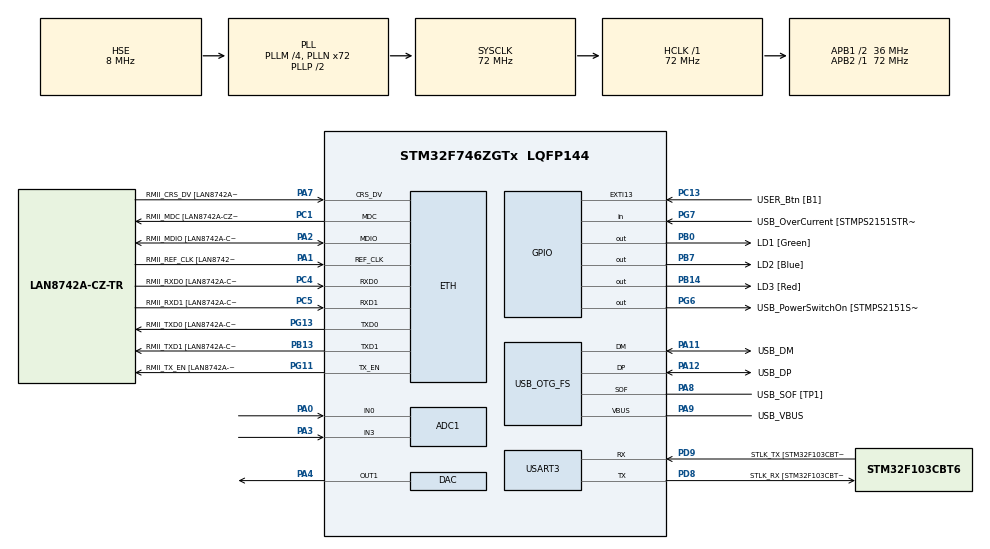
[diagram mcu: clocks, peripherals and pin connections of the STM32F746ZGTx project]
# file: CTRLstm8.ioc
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ADC1.Channel-0\#ChannelRegularConversion=ADC_CHANNEL_0
ADC1.Channel-1\#ChannelRegularConversion=ADC_CHANNEL_3
ADC1.ClockPrescaler=ADC_CLOCK_SYNC_PCLK_DIV4
ADC1.ContinuousConvMode=ENABLE
ADC1.DMAContinuousRequests=ENABLE
ADC1.EnableAnalogWatchDog=false
ADC1.NbrOfConversion=2
ADC1.NbrOfConversionFlag=1
ADC1.Rank-0\#ChannelRegularConversion=1
ADC1.Rank-1\#ChannelRegularConversion=2
ADC1.SamplingTime-0\#ChannelRegularConversion=ADC_SAMPLETIME_480CYCLES
ADC1.SamplingTime-1\#ChannelRegularConversion=ADC_SAMPLETIME_480CYCLES
ADC1.ScanConvMode=ADC_SCAN_ENABLE
ADC1.master=1
Dma.ADC1.0.Direction=DMA_PERIPH_TO_MEMORY
Dma.ADC1.0.FIFOMode=DMA_FIFOMODE_DISABLE
Dma.ADC1.0.Instance=DMA2_Stream0
Dma.ADC1.0.MemDataAlignment=DMA_MDATAALIGN_WORD
Dma.ADC1.0.MemInc=DMA_MINC_ENABLE
Dma.ADC1.0.Mode=DMA_CIRCULAR
Dma.ADC1.0.PeriphDataAlignment=DMA_PDATAALIGN_WORD
Dma.ADC1.0.PeriphInc=DMA_PINC_DISABLE
Dma.ADC1.0.Priority=DMA_PRIORITY_LOW
Dma.Request0=ADC1
ETH.MediaInterface=ETH_MEDIA_INTERFACE_RMII
ETH.PHY_Name=LAN8742A_PHY_ADDRESS
ETH.PHY_Value=0
ETH.PhyAddress=0
Mcu.Family=STM32F7
Mcu.Name=STM32F746ZGTx
Mcu.Package=LQFP144
NVIC.DMA2_Stream0_IRQn=true\:0\:0\:false\:false\:true\:false\:true
NVIC.PriorityGroup=NVIC_PRIORITYGROUP_4
NVIC.TIM2_IRQn=true\:0\:0\:false\:false\:true\:true\:true
PA0/WKUP.Signal=ADCx_IN0
PA1.GPIO_Label=RMII_REF_CLK [LAN8742A-CZ-TR_REFCLK0]
PA1.Mode=RMII
PA1.Signal=ETH_REF_CLK
PA10.GPIO_Label=USB_ID
PA10.Signal=USB_OTG_FS_ID
PA11.GPIO_Label=USB_DM
PA11.Mode=Device_Only
PA11.Signal=USB_OTG_FS_DM
PA12.GPIO_Label=USB_DP
PA12.Mode=Device_Only
PA12.Signal=USB_OTG_FS_DP
PA13.GPIO_Label=TMS
PA13.Mode=Trace_Asynchronous_SW
PA13.Signal=SYS_JTMS-SWDIO
PA14.GPIO_Label=TCK
PA14.Mode=Trace_Asynchronous_SW
PA14.Signal=SYS_JTCK-SWCLK
PA2.GPIO_Label=RMII_MDIO [LAN8742A-CZ-TR_MDIO]
PA2.Mode=RMII
PA2.Signal=ETH_MDIO
PA3.Signal=ADCx_IN3
PA4.Signal=COMP_DAC1_group
PA7.GPIO_Label=RMII_CRS_DV [LAN8742A-CZ-TR_CRS_DV]
PA7.Mode=RMII
PA7.Signal=ETH_CRS_DV
PA8.GPIO_Label=USB_SOF [TP1]
PA8.Mode=Activate_SOF_FS
PA8.Signal=USB_OTG_FS_SOF
PA9.GPIO_Label=USB_VBUS
PA9.Mode=Activate_VBUS
PA9.Signal=USB_OTG_FS_VBUS
PB0.GPIO_Label=LD1 [Green]
PB0.Signal=GPIO_Output
PB13.GPIO_Label=RMII_TXD1 [LAN8742A-CZ-TR_TXD1]
PB13.Mode=RMII
PB13.Signal=ETH_TXD1
PB14.GPIO_Label=LD3 [Red]
PB14.Signal=GPIO_Output
PB3.GPIO_Label=SW0
PB3.Mode=Trace_Asynchronous_SW
PB3.Signal=SYS_JTDO-SWO
PB7.GPIO_Label=LD2 [Blue]
PB7.Signal=GPIO_Output
PC1.GPIO_Label=RMII_MDC [LAN8742A-CZ-TR_MDC]
PC1.Mode=RMII
PC1.Signal=ETH_MDC
PC13.GPIO_Label=USER_Btn [B1]
PC13.Signal=GPXTI13
PC14/OSC32_IN.Mode=LSE-External-Oscillator
PC14/OSC32_IN.Signal=RCC_OSC32_IN
PC15/OSC32_OUT.Mode=LSE-External-Oscillator
PC15/OSC32_OUT.Signal=RCC_OSC32_OUT
PC4.GPIO_Label=RMII_RXD0 [LAN8742A-CZ-TR_RXD0]
PC4.Mode=RMII
PC4.Signal=ETH_RXD0
PC5.GPIO_Label=RMII_RXD1 [LAN8742A-CZ-TR_RXD1]
PC5.Mode=RMII
PC5.Signal=ETH_RXD1
PD8.GPIO_Label=STLK_RX [STM32F103CBT6_PA3]
PD8.Mode=Asynchronous
PD8.Signal=USART3_TX
PD9.GPIO_Label=STLK_TX [STM32F103CBT6_PA2]
PD9.Mode=Asynchronous
PD9.Signal=USART3_RX
PG11.GPIO_Label=RMII_TX_EN [LAN8742A-CZ-TR_TXEN]
PG11.Mode=RMII
PG11.Signal=ETH_TX_EN
PG13.GPIO_Label=RMII_TXD0 [LAN8742A-CZ-TR_TXD0]
PG13.Mode=RMII
PG13.Signal=ETH_TXD0
PG6.GPIO_Label=USB_PowerSwitchOn [STMPS2151STR_EN]
PG6.Signal=GPIO_Output
PG7.GPIO_Label=USB_OverCurrent [STMPS2151STR_FAULT]
PG7.Signal=GPIO_Input
PH0/OSC_IN.GPIO_Label=MCO [STM32F103CBT6_PA8]
PH0/OSC_IN.Mode=HSE-External-Clock-Source
PH0/OSC_IN.Signal=RCC_OSC_IN
PH1/OSC_OUT.Mode=HSE-External-Clock-Source
PH1/OSC_OUT.Signal=RCC_OSC_OUT
ProjectManager.HeapSize=0x200
ProjectManager.StackSize=0x400
ProjectManager.TargetToolchain=STM32CubeIDE
RCC.48MHZClocksFreq_Value=24000000
RCC.AHBFreq_Value=72000000
RCC.APB1CLKDivider=RCC_HCLK_DIV2
RCC.APB1Freq_Value=36000000
RCC.APB1TimFreq_Value=72000000
RCC.APB2Freq_Value=72000000
RCC.APB2TimFreq_Value=72000000
RCC.CortexFreq_Value=72000000
RCC.HCLKFreq_Value=72000000
RCC.HSE_VALUE=8000000
RCC.HSI_VALUE=16000000
RCC.PLLM=4
RCC.PLLMUL=RCC_PLL_MUL9
RCC.PLLN=72
RCC.PLLQ=3
RCC.PRESCALERUSB=RCC_USBCLKSOURCE_PLL_DIV1_5
RCC.SYSCLKFreq_VALUE=72000000
RCC.SYSCLKSource=RCC_SYSCLKSOURCE_PLLCLK
RCC.SYSCLKSourceVirtual=RCC_SYSCLKSOURCE_PLLCLK
RCC.USBFreq_Value=48000000
RCC.VCOOutputFreq_Value=144000000
SH.ADCx_IN0.0=ADC1_IN0,IN0
SH.ADCx_IN3.0=ADC1_IN3,IN3
SH.COMP_DAC1_group.0=DAC_OUT1,DAC_OUT1
TIM2.Period=5000
TIM2.Prescaler=72-1
USART3.VirtualMode-Asynchronous=VM_ASYNC
USB_OTG_FS.VirtualMode=Device_Only
VP_TIM2_VS_ClockSourceINT.Mode=Internal
board=NUCLEO-F746ZG

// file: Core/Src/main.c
/* USER CODE BEGIN Header */
/**
  ******************************************************************************
  * @file           : main.c
  * @brief          : Main program body
  ******************************************************************************
  * @attention
  *
  * <h2><center>&copy; Copyright (c) 2022 STMicroelectronics.
  * All rights reserved.</center></h2>
  *
  * This software component is licensed by ST under BSD 3-Clause license,
  * the "License"; You may not use this file except in compliance with the
  * License. You may obtain a copy of the License at:
  *                        opensource.org/licenses/BSD-3-Clause
  *
  ******************************************************************************
  */
/* USER CODE END Header */
#include "main.h"

/* USER CODE BEGIN Includes */
#include "stdio.h"
/* USER CODE END Includes */

ADC_HandleTypeDef hadc1;
DMA_HandleTypeDef hdma_adc1;

DAC_HandleTypeDef hdac;

ETH_HandleTypeDef heth;

TIM_HandleTypeDef htim2;

UART_HandleTypeDef huart3;

PCD_HandleTypeDef hpcd_USB_OTG_FS;

/* USER CODE BEGIN PV */

//ADC
uint32_t adc_value[2];

float referencia,planta;

//DAC
uint32_t dac_value;

/* USER CODE END PV */

void SystemClock_Config(void);
static void MX_GPIO_Init(void);
static void MX_DMA_Init(void);
static void MX_ETH_Init(void);
static void MX_USART3_UART_Init(void);
static void MX_USB_OTG_FS_PCD_Init(void);
static void MX_ADC1_Init(void);
static void MX_DAC_Init(void);
static void MX_TIM2_Init(void);

int main(void)
{

  /* MCU Configuration--------------------------------------------------------*/

  /* Reset of all peripherals, Initializes the Flash interface and the Systick. */
   HAL_Init();

  /* Configure the system clock */
  SystemClock_Config();

  /* Initialize all configured peripherals */
  MX_GPIO_Init();
  MX_DMA_Init();
  MX_ETH_Init();
  MX_USART3_UART_Init();
  MX_USB_OTG_FS_PCD_Init();
  MX_ADC1_Init();
  MX_DAC_Init();
  MX_TIM2_Init();
  /* USER CODE BEGIN 2 */

  //ADC
  //12 bits de resolucion
  HAL_ADC_Start_DMA(&hadc1, adc_value, 2);
  //DAC
  HAL_DAC_Start(&hdac, DAC_CHANNEL_1);
  //TIMER
  HAL_TIM_Base_Start_IT(&htim2);

  /* USER CODE END 2 */

  /* Infinite loop */
  while (1)
  {

  }
}

void SystemClock_Config(void)
{
  RCC_OscInitTypeDef RCC_OscInitStruct = {0};
  RCC_ClkInitTypeDef RCC_ClkInitStruct = {0};
  RCC_PeriphCLKInitTypeDef PeriphClkInitStruct = {0};

  /** Configure LSE Drive Capability
  */
  HAL_PWR_EnableBkUpAccess();
  /** Configure the main internal regulator output voltage
  */
  __HAL_RCC_PWR_CLK_ENABLE();
  __HAL_PWR_VOLTAGESCALING_CONFIG(PWR_REGULATOR_VOLTAGE_SCALE3);
  /** Initializes the RCC Oscillators according to the specified parameters
  * in the RCC_OscInitTypeDef structure.
  */
  RCC_OscInitStruct.OscillatorType = RCC_OSCILLATORTYPE_HSE;
  RCC_OscInitStruct.HSEState = RCC_HSE_BYPASS;
  RCC_OscInitStruct.PLL.PLLState = RCC_PLL_ON;
  RCC_OscInitStruct.PLL.PLLSource = RCC_PLLSOURCE_HSE;
  RCC_OscInitStruct.PLL.PLLM = 4;
  RCC_OscInitStruct.PLL.PLLN = 72;
  RCC_OscInitStruct.PLL.PLLP = RCC_PLLP_DIV2;
  RCC_OscInitStruct.PLL.PLLQ = 3;
  if (HAL_RCC_OscConfig(&RCC_OscInitStruct) != HAL_OK)
  {
    Error_Handler();
  }
  /** Initializes the CPU, AHB and APB buses clocks
  */
  RCC_ClkInitStruct.ClockType = RCC_CLOCKTYPE_HCLK|RCC_CLOCKTYPE_SYSCLK
                              |RCC_CLOCKTYPE_PCLK1|RCC_CLOCKTYPE_PCLK2;
  RCC_ClkInitStruct.SYSCLKSource = RCC_SYSCLKSOURCE_PLLCLK;
  RCC_ClkInitStruct.AHBCLKDivider = RCC_SYSCLK_DIV1;
  RCC_ClkInitStruct.APB1CLKDivider = RCC_HCLK_DIV2;
  RCC_ClkInitStruct.APB2CLKDivider = RCC_HCLK_DIV1;

  if (HAL_RCC_ClockConfig(&RCC_ClkInitStruct, FLASH_LATENCY_2) != HAL_OK)
  {
    Error_Handler();
  }
  PeriphClkInitStruct.PeriphClockSelection = RCC_PERIPHCLK_USART3|RCC_PERIPHCLK_CLK48;
  PeriphClkInitStruct.Usart3ClockSelection = RCC_USART3CLKSOURCE_PCLK1;
  PeriphClkInitStruct.Clk48ClockSelection = RCC_CLK48SOURCE_PLL;
  if (HAL_RCCEx_PeriphCLKConfig(&PeriphClkInitStruct) != HAL_OK)
  {
    Error_Handler();
  }
}

static void MX_ADC1_Init(void)
{

  ADC_ChannelConfTypeDef sConfig = {0};

  /** Configure the global features of the ADC (Clock, Resolution, Data Alignment and number of conversion)
  */
  hadc1.Instance = ADC1;
  hadc1.Init.ClockPrescaler = ADC_CLOCK_SYNC_PCLK_DIV4;
  hadc1.Init.Resolution = ADC_RESOLUTION_12B;
  hadc1.Init.ScanConvMode = ADC_SCAN_ENABLE;
  hadc1.Init.ContinuousConvMode = ENABLE;
  hadc1.Init.DiscontinuousConvMode = DISABLE;
  hadc1.Init.ExternalTrigConvEdge = ADC_EXTERNALTRIGCONVEDGE_NONE;
  hadc1.Init.ExternalTrigConv = ADC_SOFTWARE_START;
  hadc1.Init.DataAlign = ADC_DATAALIGN_RIGHT;
  hadc1.Init.NbrOfConversion = 2;
  hadc1.Init.DMAContinuousRequests = ENABLE;
  hadc1.Init.EOCSelection = ADC_EOC_SINGLE_CONV;
  if (HAL_ADC_Init(&hadc1) != HAL_OK)
  {
    Error_Handler();
  }
  /** Configure for the selected ADC regular channel its corresponding rank in the sequencer and its sample time.
  */
  sConfig.Channel = ADC_CHANNEL_0;
  sConfig.Rank = ADC_REGULAR_RANK_1;
  sConfig.SamplingTime = ADC_SAMPLETIME_480CYCLES;
  if (HAL_ADC_ConfigChannel(&hadc1, &sConfig) != HAL_OK)
  {
    Error_Handler();
  }
  /** Configure for the selected ADC regular channel its corresponding rank in the sequencer and its sample time.
  */
  sConfig.Channel = ADC_CHANNEL_3;
  sConfig.Rank = ADC_REGULAR_RANK_2;
  if (HAL_ADC_ConfigChannel(&hadc1, &sConfig) != HAL_OK)
  {
    Error_Handler();
  }

}

static void MX_DAC_Init(void)
{

  DAC_ChannelConfTypeDef sConfig = {0};

  /** DAC Initialization
  */
  hdac.Instance = DAC;
  if (HAL_DAC_Init(&hdac) != HAL_OK)
  {
    Error_Handler();
  }
  /** DAC channel OUT1 config
  */
  sConfig.DAC_Trigger = DAC_TRIGGER_NONE;
  sConfig.DAC_OutputBuffer = DAC_OUTPUTBUFFER_ENABLE;
  if (HAL_DAC_ConfigChannel(&hdac, &sConfig, DAC_CHANNEL_1) != HAL_OK)
  {
    Error_Handler();
  }

}

static void MX_ETH_Init(void)
{

  heth.Instance = ETH;
  heth.Init.AutoNegotiation = ETH_AUTONEGOTIATION_ENABLE;
  heth.Init.PhyAddress = LAN8742A_PHY_ADDRESS;
  heth.Init.MACAddr[0] =   0x00;
  heth.Init.MACAddr[1] =   0x80;
  heth.Init.MACAddr[2] =   0xE1;
  heth.Init.MACAddr[3] =   0x00;
  heth.Init.MACAddr[4] =   0x00;
  heth.Init.MACAddr[5] =   0x00;
  heth.Init.RxMode = ETH_RXPOLLING_MODE;
  heth.Init.ChecksumMode = ETH_CHECKSUM_BY_HARDWARE;
  heth.Init.MediaInterface = ETH_MEDIA_INTERFACE_RMII;

  if (HAL_ETH_Init(&heth) != HAL_OK)
  {
    Error_Handler();
  }

}

static void MX_TIM2_Init(void)
{

  TIM_ClockConfigTypeDef sClockSourceConfig = {0};
  TIM_MasterConfigTypeDef sMasterConfig = {0};

  htim2.Instance = TIM2;
  htim2.Init.Prescaler = 72-1;
  htim2.Init.CounterMode = TIM_COUNTERMODE_UP;
  htim2.Init.Period = 5000;
  htim2.Init.ClockDivision = TIM_CLOCKDIVISION_DIV1;
  htim2.Init.AutoReloadPreload = TIM_AUTORELOAD_PRELOAD_DISABLE;
  if (HAL_TIM_Base_Init(&htim2) != HAL_OK)
  {
    Error_Handler();
  }
  sClockSourceConfig.ClockSource = TIM_CLOCKSOURCE_INTERNAL;
  if (HAL_TIM_ConfigClockSource(&htim2, &sClockSourceConfig) != HAL_OK)
  {
    Error_Handler();
  }
  sMasterConfig.MasterOutputTrigger = TIM_TRGO_RESET;
  sMasterConfig.MasterSlaveMode = TIM_MASTERSLAVEMODE_DISABLE;
  if (HAL_TIMEx_MasterConfigSynchronization(&htim2, &sMasterConfig) != HAL_OK)
  {
    Error_Handler();
  }

}

static void MX_USART3_UART_Init(void)
{

  huart3.Instance = USART3;
  huart3.Init.BaudRate = 115200;
  huart3.Init.WordLength = UART_WORDLENGTH_8B;
  huart3.Init.StopBits = UART_STOPBITS_1;
  huart3.Init.Parity = UART_PARITY_NONE;
  huart3.Init.Mode = UART_MODE_TX_RX;
  huart3.Init.HwFlowCtl = UART_HWCONTROL_NONE;
  huart3.Init.OverSampling = UART_OVERSAMPLING_16;
  huart3.Init.OneBitSampling = UART_ONE_BIT_SAMPLE_DISABLE;
  huart3.AdvancedInit.AdvFeatureInit = UART_ADVFEATURE_NO_INIT;
  if (HAL_UART_Init(&huart3) != HAL_OK)
  {
    Error_Handler();
  }

}

static void MX_USB_OTG_FS_PCD_Init(void)
{

  hpcd_USB_OTG_FS.Instance = USB_OTG_FS;
  hpcd_USB_OTG_FS.Init.dev_endpoints = 6;
  hpcd_USB_OTG_FS.Init.speed = PCD_SPEED_FULL;
  hpcd_USB_OTG_FS.Init.dma_enable = DISABLE;
  hpcd_USB_OTG_FS.Init.phy_itface = PCD_PHY_EMBEDDED;
  hpcd_USB_OTG_FS.Init.Sof_enable = ENABLE;
  hpcd_USB_OTG_FS.Init.low_power_enable = DISABLE;
  hpcd_USB_OTG_FS.Init.lpm_enable = DISABLE;
  hpcd_USB_OTG_FS.Init.vbus_sensing_enable = ENABLE;
  hpcd_USB_OTG_FS.Init.use_dedicated_ep1 = DISABLE;
  if (HAL_PCD_Init(&hpcd_USB_OTG_FS) != HAL_OK)
  {
    Error_Handler();
  }

}

static void MX_DMA_Init(void)
{

  /* DMA controller clock enable */
  __HAL_RCC_DMA2_CLK_ENABLE();

  /* DMA interrupt init */
  /* DMA2_Stream0_IRQn interrupt configuration */
  HAL_NVIC_SetPriority(DMA2_Stream0_IRQn, 0, 0);
  HAL_NVIC_EnableIRQ(DMA2_Stream0_IRQn);

}

static void MX_GPIO_Init(void)
{
  GPIO_InitTypeDef GPIO_InitStruct = {0};

  /* GPIO Ports Clock Enable */
  __HAL_RCC_GPIOC_CLK_ENABLE();
  __HAL_RCC_GPIOH_CLK_ENABLE();
  __HAL_RCC_GPIOA_CLK_ENABLE();
  __HAL_RCC_GPIOB_CLK_ENABLE();
  __HAL_RCC_GPIOD_CLK_ENABLE();
  __HAL_RCC_GPIOG_CLK_ENABLE();

  /*Configure GPIO pin Output Level */
  HAL_GPIO_WritePin(GPIOB, LD1_Pin|LD3_Pin|LD2_Pin, GPIO_PIN_RESET);

  /*Configure GPIO pin Output Level */
  HAL_GPIO_WritePin(USB_PowerSwitchOn_GPIO_Port, USB_PowerSwitchOn_Pin, GPIO_PIN_RESET);

  /*Configure GPIO pin : USER_Btn_Pin */
  GPIO_InitStruct.Pin = USER_Btn_Pin;
  GPIO_InitStruct.Mode = GPIO_MODE_IT_RISING;
  GPIO_InitStruct.Pull = GPIO_NOPULL;
  HAL_GPIO_Init(USER_Btn_GPIO_Port, &GPIO_InitStruct);

  /*Configure GPIO pins : LD1_Pin LD3_Pin LD2_Pin */
  GPIO_InitStruct.Pin = LD1_Pin|LD3_Pin|LD2_Pin;
  GPIO_InitStruct.Mode = GPIO_MODE_OUTPUT_PP;
  GPIO_InitStruct.Pull = GPIO_NOPULL;
  GPIO_InitStruct.Speed = GPIO_SPEED_FREQ_LOW;
  HAL_GPIO_Init(GPIOB, &GPIO_InitStruct);

  /*Configure GPIO pin : USB_PowerSwitchOn_Pin */
  GPIO_InitStruct.Pin = USB_PowerSwitchOn_Pin;
  GPIO_InitStruct.Mode = GPIO_MODE_OUTPUT_PP;
  GPIO_InitStruct.Pull = GPIO_NOPULL;
  GPIO_InitStruct.Speed = GPIO_SPEED_FREQ_LOW;
  HAL_GPIO_Init(USB_PowerSwitchOn_GPIO_Port, &GPIO_InitStruct);

  /*Configure GPIO pin : USB_OverCurrent_Pin */
  GPIO_InitStruct.Pin = USB_OverCurrent_Pin;
  GPIO_InitStruct.Mode = GPIO_MODE_INPUT;
  GPIO_InitStruct.Pull = GPIO_NOPULL;
  HAL_GPIO_Init(USB_OverCurrent_GPIO_Port, &GPIO_InitStruct);

}

/* USER CODE BEGIN 4 */

float vdonref=0.64;
float vdonplan=0.58;

float error[2],out[2],error_act,out_act,voltaje;
float volref,volplan;

int intreference,intplanta;
void HAL_TIM_PeriodElapsedCallback(TIM_HandleTypeDef *htim)
{

		//referencia 	-> 		A0
		//planta		->		A3
		//DAC			->		A4

	  //valor a voltaje
	  volref=(3.3*(float)adc_value[0]/4095.00)+vdonref;
	  volplan=(3.3*(float)adc_value[1]/4095.00)+vdonplan;

	  printf("%lu",adc_value[0]);
	  //valor real

	  //referencia 	(-6.6,6.6)
	  referencia=volref*4-6.6;
	  intreference=referencia*100;
	  //planta		(-6.6,6.6)
	  planta=volplan*4-6.6;
	  intplanta=planta*100;

	  //ecuacion en diferencia
	  error_act=referencia-planta;

	  float r0=9.5511;
	  float r1=-18.0914;
	  float r2=	8.5702;

	  out_act=r0*error_act+r1*error[0]+r2*error[1]+2*out[0]-out[1];

	  //limites de la salida
	  if (out_act>6.6) {out_act=6.6;}
	  else{ if (out_act<-6.6){out_act=-6.6;}}

	  //retraso de las señales
	  error[1]=error[0];
	  error[0]=error_act;

	  out[1]=out[0];
	  out[0]=out_act;

	  //DAC
	  voltaje=out_act/4+1.65;
	  dac_value= voltaje*(0xfff+1)/3.3;
	  HAL_DAC_SetValue(&hdac, DAC_CHANNEL_1, DAC_ALIGN_12B_R, dac_value);

}

/* USER CODE END 4 */

void Error_Handler(void)
{
}

/************************ (C) COPYRIGHT STMicroelectronics *****END OF FILE****/
